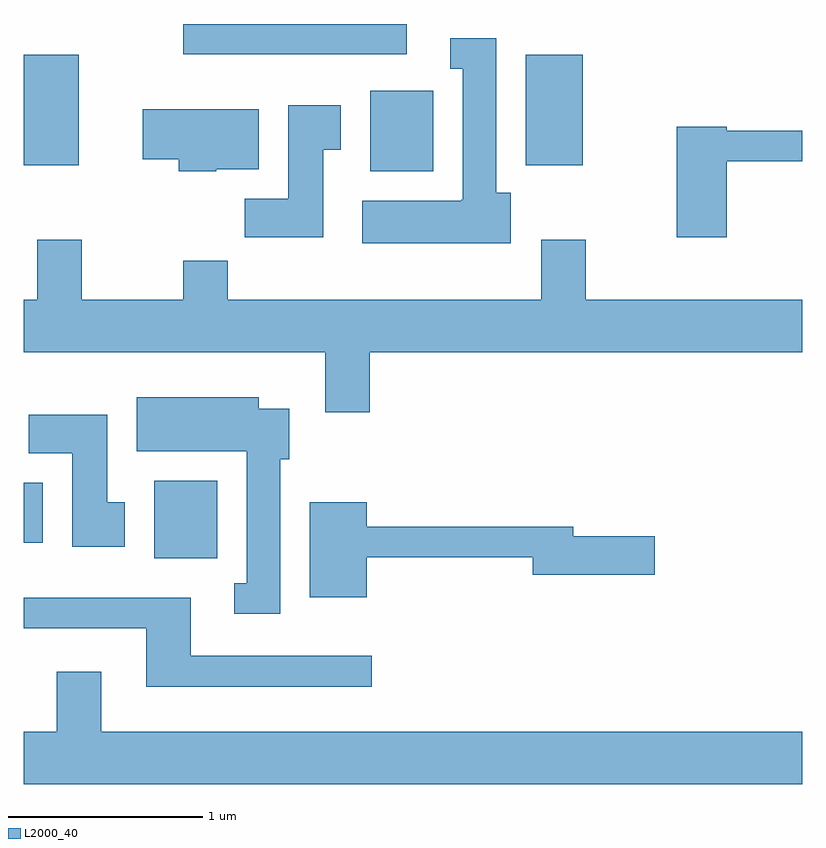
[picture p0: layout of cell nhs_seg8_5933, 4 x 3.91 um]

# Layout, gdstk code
import gdstk
lib = gdstk.Library(unit=1e-6, precision=1e-09)
def R(c, l, rs):  # rectangles x0, y0, x1, y1
    for r in rs: c.add(gdstk.rectangle(r[:2], r[2:], *l))
def P(c, l, *ps):  # polygons
    for p in ps: c.add(gdstk.Polygon(p, *l))
L2000_40 = (2000, 40)

nhs_seg8_5933 = lib.new_cell('nhs_seg8_5933')
R(nhs_seg8_5933, L2000_40, [(364.281,1817.596,364.604,1817.994), (363.611,1817.676,363.709,1817.984), (365.391,1819.586,365.714,1819.999), (363.611,1819.616,363.894,1820.184), (366.191,1819.616,366.484,1820.184), (364.431,1820.186,365.579,1820.342)])
P(nhs_seg8_5933, L2000_40, [(366.114,1819.474),(366.039,1819.474),(366.039,1820.269),(365.803,1820.269),(365.803,1820.111),(365.866,1820.111),(365.866,1819.44),(365.86,1819.44),(365.86,1819.434),(365.351,1819.434),(365.351,1819.216),(366.114,1819.216)],
  [(365.149,1819.696),(365.239,1819.696),(365.239,1819.924),(364.971,1819.924),(364.971,1819.444),(364.746,1819.444),(364.746,1819.246),(365.149,1819.246)],
  [(364.6,1819.596),(364.819,1819.596),(364.819,1819.904),(364.221,1819.904),(364.221,1819.646),(364.406,1819.646),(364.406,1819.586),(364.6,1819.586)],
  [(367.224,1819.636),(367.611,1819.636),(367.611,1819.794),(367.224,1819.794),(367.224,1819.814),(366.966,1819.814),(366.966,1819.246),(367.224,1819.246)],
  [(365.161,1818.346),(365.389,1818.346),(365.389,1818.656),(367.611,1818.656),(367.611,1818.924),(366.499,1818.924),(366.499,1819.234),(366.271,1819.234),(366.271,1818.924),(364.659,1818.924),(364.659,1819.124),(364.431,1819.124),(364.431,1818.924),(363.909,1818.924),(363.909,1819.234),(363.681,1819.234),(363.681,1818.924),(363.611,1818.924),(363.611,1818.656),(365.161,1818.656)],
  [(364.929,1818.106),(364.974,1818.106),(364.974,1818.364),(364.819,1818.364),(364.819,1818.424),(364.191,1818.424),(364.191,1818.146),(364.756,1818.146),(364.756,1817.469),(364.693,1817.469),(364.693,1817.311),(364.929,1817.311)],
  [(364.129,1817.884),(364.039,1817.884),(364.039,1818.334),(363.636,1818.334),(363.636,1818.136),(363.861,1818.136),(363.861,1817.656),(364.129,1817.656)],
  [(365.374,1817.601),(366.226,1817.601),(366.226,1817.511),(366.854,1817.511),(366.854,1817.709),(366.434,1817.709),(366.434,1817.759),(365.374,1817.759),(365.374,1817.884),(365.081,1817.884),(365.081,1817.396),(365.374,1817.396)],
  [(365.398,1817.094),(364.469,1817.094),(364.469,1817.394),(363.611,1817.394),(363.611,1817.236),(364.241,1817.236),(364.241,1816.936),(365.398,1816.936)],
  [(367.611,1816.704),(364.009,1816.704),(364.009,1817.014),(363.781,1817.014),(363.781,1816.704),(363.611,1816.704),(363.611,1816.436),(367.611,1816.436)])

lib.write_gds('nhs_seg8_5933.gds')
